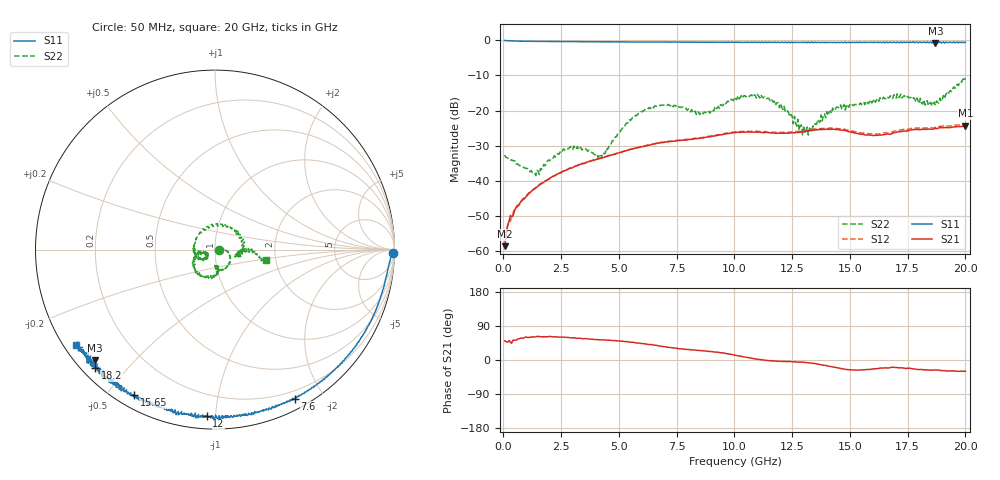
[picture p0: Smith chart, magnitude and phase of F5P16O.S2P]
! FILE NAME
! DATE 05/07/2008  07:55
! CORRECTED  DATA
# GHz  S  MA  R  50.00
!  FREQ  S11M  S11A  S21M  S21A  S12M  S12A  S22M  S22A
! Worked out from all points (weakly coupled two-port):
!   400 points, 50 MHz to 20 GHz, reference 50 ohm
!   highest |S21| = -24.33 dB at 20 GHz (marker M1); lowest = -58.5 dB at 50 MHz (marker M2)
!   lowest |S11| = -0.8 dB at 18.7 GHz (marker M3), VSWR 20.99, Z = 2.75 - j19.5 ohm
!   |S11| at or under -10 dB: nowhere
!   |S22| runs from -38.5 to -10.7 dB; largest |S21 - S12| = 0.0039
!   S11 on the Smith chart (normalised r, x): 50 MHz: open; 7.6 GHz: 0.11, -1.67; 12 GHz: 0.07, -0.95; 15.65 GHz: 0.05, -0.59; 18.2 GHz: 0.04, -0.41; 20 GHz: 0.03, -0.31
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0.05  0.9916 -1.0  0.001182 50.5  0.001595 60.8  0.0233 -6.7
0.3  0.978 -3.3  0.00324 46.6  0.002698 51.9  0.01958 -12.6
1.05  0.9656 -9.6  0.006493 59.5  0.006248 59.8  0.0148 -20.2
1.55  0.9609 -13.7  0.008815 61.6  0.008711 61.9  0.0123 -7.2
2.6  0.9567 -22.2  0.01381 60.4  0.01389 60.6  0.0286 -14.7
3.4  0.9527 -28.8  0.01748 56.5  0.01778 56.9  0.02738 -38.3
4.25  0.9489 -35.7  0.02101 53.0  0.02129 54.0  0.02145 -16.2
5.45  0.9451 -44.8  0.02773 47.7  0.028 48.6  0.07389 -9.7
6.7  0.9389 -54.8  0.03446 37.6  0.03477 38.7  0.1176 -52.3
7.6  0.942 -61.7  0.03746 29.6  0.03791 31.0  0.1125 -82.6
8.95  0.9316 -72.2  0.04229 22.4  0.04322 23.2  0.09177 -79.3
10.05  0.9378 -79.9  0.0487 12.5  0.05001 13.3  0.1473 -94.7
12  0.9289 -92.8  0.04769 -3.5  0.0488 -2.5  0.1261 -158.5
12.75  0.932 -98.6  0.04879 -5.7  0.05037 -4.4  0.07472 -164.9
12.95  0.9338 -101.2  0.04994 -6.0  0.05128 -5.3  0.04531 -162.6
13.35  0.9451 -103.3  0.05179 -8.4  0.05391 -7.4  0.05094 -150.2
14.25  0.9242 -109.5  0.05439 -18.1  0.05615 -17.6  0.1084 -149.0
15.65  0.9282 -119.1  0.04498 -25.9  0.04733 -25.2  0.1208 116.6
16.7  0.9304 -124.3  0.04595 -21.0  0.04854 -20.2  0.1509 45.8
18.2  0.9383 -135.4  0.05418 -25.9  0.0563 -26.8  0.1421 -14.5
18.7  0.9091 -137.2  0.05564 -26.4  0.05744 -27.1  0.1183 -7.6
20  0.9406 -145.6  0.06072 -29.8  0.06381 -30.8  0.2902 -12.1
